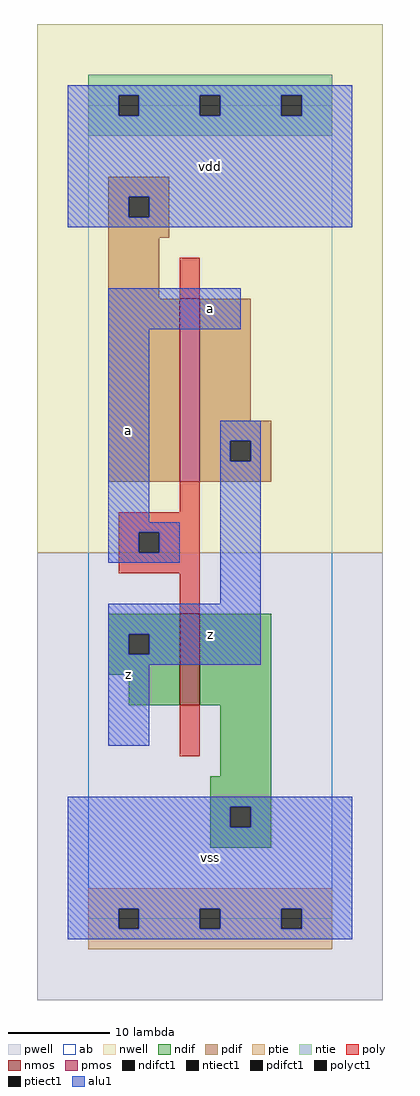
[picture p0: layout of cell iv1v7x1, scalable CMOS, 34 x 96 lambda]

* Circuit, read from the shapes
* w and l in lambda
.subckt iv1v7x1 a vdd vss z
M1 vss a z vss nfet w=9 l=2
M2 z a vdd vdd pfet w=18 l=2
.ends

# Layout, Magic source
magic
tech scmos
<< ab >>
rect 0 0 24 80
<< nwell >>
rect -5 36 29 88
<< pwell >>
rect -5 -8 29 36
<< poly >>
rect 9 61 11 65
rect 9 40 11 43
rect 3 38 11 40
rect 3 36 5 38
rect 7 36 11 38
rect 3 34 11 36
rect 9 30 11 34
rect 9 16 11 21
<< ndif >>
rect 2 28 9 30
rect 2 26 4 28
rect 6 26 9 28
rect 2 24 9 26
rect 4 21 9 24
rect 11 21 18 30
rect 13 14 18 21
rect 12 11 18 14
rect 12 9 14 11
rect 16 9 18 11
rect 12 7 18 9
<< pdif >>
rect 2 71 8 73
rect 2 69 4 71
rect 6 69 8 71
rect 2 67 8 69
rect 2 61 7 67
rect 2 43 9 61
rect 11 49 16 61
rect 11 47 18 49
rect 11 45 14 47
rect 16 45 18 47
rect 11 43 18 45
<< alu1 >>
rect -2 81 26 82
rect -2 79 3 81
rect 5 79 11 81
rect 13 79 19 81
rect 21 79 26 81
rect -2 71 26 79
rect -2 69 4 71
rect 6 69 26 71
rect -2 68 26 69
rect 2 58 15 62
rect 2 39 6 58
rect 13 47 17 49
rect 13 45 14 47
rect 16 45 17 47
rect 2 38 9 39
rect 2 36 5 38
rect 7 36 9 38
rect 2 35 9 36
rect 13 31 17 45
rect 2 28 17 31
rect 2 26 4 28
rect 6 26 17 28
rect 2 25 17 26
rect 2 17 6 25
rect -2 11 26 12
rect -2 9 14 11
rect 16 9 26 11
rect -2 1 26 9
rect -2 -1 3 1
rect 5 -1 11 1
rect 13 -1 19 1
rect 21 -1 26 1
rect -2 -2 26 -1
<< ptie >>
rect 0 1 24 3
rect 0 -1 3 1
rect 5 -1 11 1
rect 13 -1 19 1
rect 21 -1 24 1
rect 0 -3 24 -1
<< ntie >>
rect 0 81 24 83
rect 0 79 3 81
rect 5 79 11 81
rect 13 79 19 81
rect 21 79 24 81
rect 0 77 24 79
<< nmos >>
rect 9 21 11 30
<< pmos >>
rect 9 43 11 61
<< polyct1 >>
rect 5 36 7 38
<< ndifct1 >>
rect 4 26 6 28
rect 14 9 16 11
<< ntiect1 >>
rect 3 79 5 81
rect 11 79 13 81
rect 19 79 21 81
<< ptiect1 >>
rect 3 -1 5 1
rect 11 -1 13 1
rect 19 -1 21 1
<< pdifct1 >>
rect 4 69 6 71
rect 14 45 16 47
<< labels >>
rlabel alu1 4 24 4 24 6 z
rlabel alu1 4 48 4 48 6 a
rlabel alu1 12 6 12 6 6 vss
rlabel alu1 12 28 12 28 6 z
rlabel alu1 12 74 12 74 6 vdd
rlabel alu1 12 60 12 60 6 a
<< end >>
